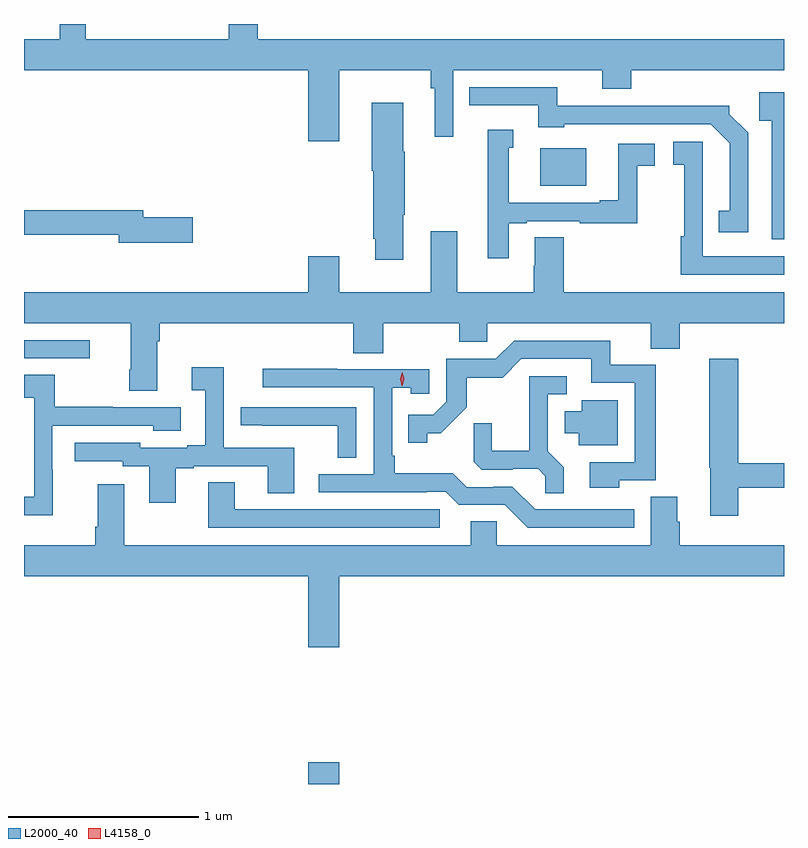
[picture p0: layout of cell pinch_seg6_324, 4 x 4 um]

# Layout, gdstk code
import gdstk
lib = gdstk.Library(unit=1e-6, precision=1e-09)
def R(c, l, rs):  # rectangles x0, y0, x1, y1
    for r in rs: c.add(gdstk.rectangle(r[:2], r[2:], *l))
def P(c, l, *ps):  # polygons
    for p in ps: c.add(gdstk.Polygon(p, *l))
L2000_40 = (2000, 40)
L4158_0 = (4158, 0)

pinch_seg6_324 = lib.new_cell('pinch_seg6_324')
R(pinch_seg6_324, L2000_40, [(656.516,992.863,656.68,992.977), (655.021,995.103,655.366,995.199), (657.737,996.011,657.979,996.208)])
P(pinch_seg6_324, L2000_40, [(656.68,996.62),(657.163,996.62),(657.163,996.524),(657.182,996.524),(657.182,996.27),(657.279,996.27),(657.279,996.62),(658.064,996.62),(658.064,996.521),(658.217,996.521),(658.217,996.62),(659.021,996.62),(659.021,996.784),(656.252,996.784),(656.252,996.863),(656.099,996.863),(656.099,996.784),(655.347,996.784),(655.347,996.863),(655.209,996.863),(655.209,996.784),(655.021,996.784),(655.021,996.62),(656.516,996.62),(656.516,996.246),(656.68,996.246)],
  [(658.833,996.29),(658.734,996.389),(658.734,996.434),(658.3,996.434),(658.3,996.432),(657.828,996.432),(657.828,996.531),(657.364,996.531),(657.364,996.435),(657.728,996.435),(657.728,996.32),(657.864,996.32),(657.864,996.336),(658.635,996.336),(658.736,996.235),(658.736,995.879),(658.678,995.879),(658.678,995.766),(658.833,995.766)],
  [(659.021,996.505),(658.891,996.505),(658.891,996.353),(658.956,996.353),(658.956,995.73),(659.021,995.73)],
  [(657.016,995.86),(657.024,995.86),(657.024,996.19),(657.016,996.19),(657.016,996.448),(656.852,996.448),(656.852,996.09),(656.858,996.09),(656.858,995.734),(656.87,995.734),(656.87,995.622),(657.016,995.622)],
  [(657.571,995.814),(657.667,995.814),(657.667,995.826),(657.946,995.826),(657.946,995.814),(658.248,995.814),(658.248,996.118),(658.342,996.118),(658.342,996.234),(658.148,996.234),(658.148,995.935),(658.052,995.935),(658.052,995.922),(657.571,995.922),(657.571,996.213),(657.595,996.213),(657.595,996.307),(657.462,996.307),(657.462,995.875),(657.461,995.875),(657.461,995.631),(657.571,995.631)],
  [(659.021,995.64),(658.593,995.64),(658.593,995.968),(658.594,995.968),(658.594,996.244),(658.437,996.244),(658.437,996.123),(658.495,996.123),(658.495,995.747),(658.477,995.747),(658.477,995.544),(659.021,995.544)],
  [(655.909,995.846),(655.648,995.846),(655.648,995.882),(655.021,995.882),(655.021,995.754),(655.52,995.754),(655.52,995.711),(655.909,995.711)],
  [(655.723,995.192),(655.736,995.192),(655.736,995.288),(656.753,995.288),(656.753,995.131),(656.913,995.131),(656.913,995.288),(657.313,995.288),(657.313,995.19),(657.459,995.19),(657.459,995.288),(658.319,995.288),(658.319,995.155),(658.472,995.155),(658.472,995.288),(659.021,995.288),(659.021,995.452),(657.863,995.452),(657.863,995.741),(657.71,995.741),(657.71,995.591),(657.703,995.591),(657.703,995.452),(657.301,995.452),(657.301,995.773),(657.161,995.773),(657.161,995.452),(656.68,995.452),(656.68,995.641),(656.516,995.641),(656.516,995.452),(655.021,995.452),(655.021,995.288),(655.583,995.288),(655.583,995.044),(655.576,995.044),(655.576,994.932),(655.723,994.932)],
  [(658.155,994.461),(658.345,994.461),(658.345,995.07),(658.106,995.07),(658.106,995.196),(657.6,995.196),(657.504,995.1),(657.243,995.1),(657.243,994.875),(657.174,994.806),(657.043,994.806),(657.043,994.659),(657.144,994.659),(657.144,994.709),(657.214,994.709),(657.352,994.846),(657.352,995.002),(657.541,995.002),(657.639,995.1),(658.007,995.1),(658.007,994.974),(658.236,994.974),(658.236,994.557),(657.999,994.557),(657.999,994.421),(658.155,994.421)],
  [(658.781,994.422),(659.021,994.422),(659.021,994.55),(658.781,994.55),(658.781,995.101),(658.627,995.101),(658.627,994.527),(658.634,994.527),(658.634,994.275),(658.781,994.275)],
  [(655.819,994.524),(655.915,994.524),(655.915,994.536),(656.303,994.536),(656.303,994.393),(656.443,994.393),(656.443,994.632),(656.073,994.632),(656.073,995.056),(655.905,995.056),(655.905,994.936),(655.976,994.936),(655.976,994.645),(655.88,994.645),(655.88,994.632),(655.632,994.632),(655.632,994.659),(655.287,994.659),(655.287,994.563),(655.542,994.563),(655.542,994.536),(655.679,994.536),(655.679,994.344),(655.819,994.344)],
  [(658.234,994.308),(657.711,994.308),(657.591,994.428),(657.49,994.428),(657.49,994.425),(657.351,994.425),(657.278,994.498),(656.971,994.498),(656.971,994.591),(656.958,994.591),(656.958,994.949),(657.057,994.949),(657.057,994.917),(657.153,994.917),(657.153,995.046),(656.669,995.046),(656.669,995.049),(656.277,995.049),(656.277,994.95),(656.862,994.95),(656.862,994.494),(656.571,994.494),(656.571,994.398),(657.14,994.398),(657.14,994.401),(657.24,994.401),(657.309,994.332),(657.552,994.332),(657.672,994.212),(658.234,994.212)],
  [(655.173,994.517),(655.17,994.517),(655.17,994.749),(655.701,994.749),(655.701,994.721),(655.846,994.721),(655.846,994.845),(655.487,994.845),(655.487,994.848),(655.183,994.848),(655.183,995.018),(655.021,995.018),(655.021,994.897),(655.074,994.897),(655.074,994.375),(655.021,994.375),(655.021,994.277),(655.173,994.277)],
  [(657.863,994.529),(657.777,994.615),(657.777,994.914),(657.877,994.914),(657.877,995.01),(657.68,995.01),(657.68,994.618),(657.482,994.618),(657.482,994.761),(657.388,994.761),(657.388,994.559),(657.429,994.518),(657.594,994.518),(657.594,994.521),(657.728,994.521),(657.765,994.484),(657.765,994.393),(657.863,994.393)],
  [(658.147,994.882),(657.956,994.882),(657.956,994.825),(657.866,994.825),(657.866,994.709),(657.941,994.709),(657.941,994.646),(658.147,994.646)],
  [(656.769,994.845),(656.163,994.845),(656.163,994.75),(656.275,994.75),(656.275,994.749),(656.671,994.749),(656.671,994.579),(656.769,994.579)],
  [(657.208,994.308),(656.131,994.308),(656.131,994.451),(655.991,994.451),(655.991,994.212),(657.208,994.212)],
  [(656.68,993.956),(659.021,993.956),(659.021,994.12),(658.472,994.12),(658.472,994.242),(658.459,994.242),(658.459,994.376),(658.319,994.376),(658.319,994.12),(657.51,994.12),(657.51,994.247),(657.371,994.247),(657.371,994.12),(655.549,994.12),(655.549,994.441),(655.409,994.441),(655.409,994.216),(655.397,994.216),(655.397,994.12),(655.021,994.12),(655.021,993.956),(656.516,993.956),(656.516,993.582),(656.68,993.582)])
P(pinch_seg6_324, L4158_0, [(657.01,994.959),(657.001,994.995),(657.012,995.031),(657.012,995.031),(657.012,995.031),(657.021,994.994),(657.011,994.959),(657.011,994.959)])

lib.write_gds('pinch_seg6_324.gds')
